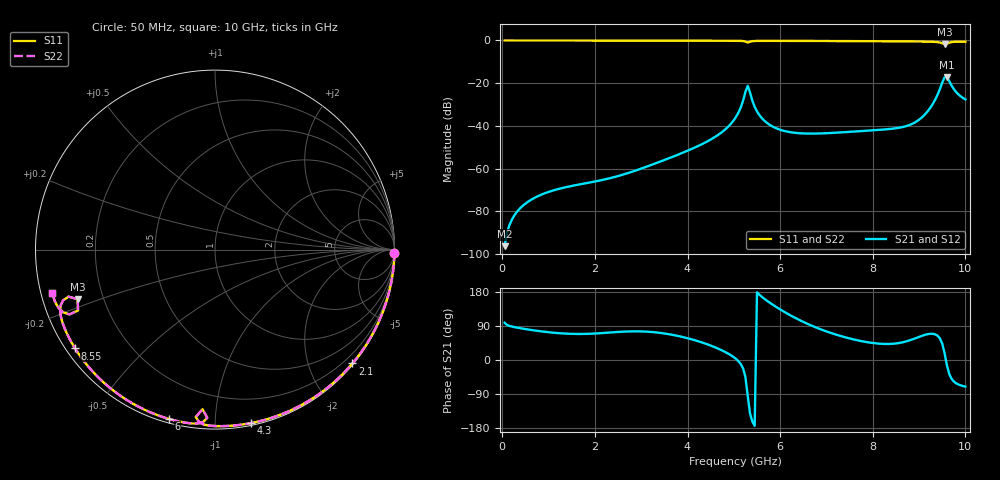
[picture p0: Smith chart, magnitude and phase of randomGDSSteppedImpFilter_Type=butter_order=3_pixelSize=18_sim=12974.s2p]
! freq	dB(S11)	phase(S11)	dB(S12)	phase(S12)
!  dB(S21)	phase(S21)	dB(S22)	phase(S22)
!S-par simulation data
#  GHz  S  DB  R 50
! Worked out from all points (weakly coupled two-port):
!   200 points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, 50 MHz to 10 GHz, reference 50 ohm
!   highest |S21| = -17.15 dB at 9.6 GHz (marker M1); lowest = -96.3 dB at 50 MHz (marker M2)
!   lowest |S11| = -1.8 dB at 9.55 GHz (marker M3), VSWR 9.74, Z = 5.29 - j8.66 ohm
!   |S11| at or under -10 dB: nowhere
!   |S22| runs from -1.8 to 0.0 dB; largest |S21 - S12| = 0
!   S11 on the Smith chart (normalised r, x): 50 MHz: open; 2.1 GHz: 0.03, -2.78; 4.3 GHz: 0.02, -1.23; 6 GHz: 0.02, -0.77; 8.55 GHz: 0.03, -0.32; 10 GHz: 0.03, -0.13
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0.05  -0.00 -1.0  -96.33 98.3  -96.33 98.3  -0.00 -1.0
0.3  -0.00 -5.8  -80.71 85.8  -80.71 85.8  -0.00 -5.8
0.85  -0.02 -16.3  -72.14 75.4  -72.14 75.4  -0.02 -16.3
1.75  -0.04 -33.2  -67.08 68.7  -67.08 68.7  -0.04 -33.2
2.1  -0.05 -39.6  -65.61 70.6  -65.61 70.6  -0.05 -39.6
3.4  -0.08 -62.9  -56.82 71.7  -56.82 71.7  -0.08 -62.9
4.3  -0.11 -78.4  -48.70 46.8  -48.70 46.8  -0.11 -78.4
4.75  -0.13 -86.0  -42.82 25.0  -42.82 25.0  -0.13 -86.0
5.05  -0.16 -91.5  -35.68 2.6  -35.68 2.6  -0.16 -91.5
5.3  -0.99 -94.5  -21.23 -95.0  -21.23 -95.0  -0.99 -94.5
5.45  -0.25 -95.3  -31.07 -173.7  -31.07 -173.7  -0.25 -95.3
5.55  -0.20 -97.4  -34.91 172.4  -34.91 172.4  -0.20 -97.4
6  -0.19 -105.2  -41.82 133.5  -41.82 133.5  -0.19 -105.1
6.7  -0.23 -116.2  -43.62 89.6  -43.62 89.6  -0.23 -116.2
8.35  -0.38 -141.6  -41.50 42.3  -41.50 42.3  -0.38 -141.6
8.55  -0.40 -144.8  -40.95 44.4  -40.95 44.4  -0.40 -144.7
9.15  -0.53 -154.8  -34.08 67.2  -34.08 67.2  -0.53 -154.8
9.35  -0.69 -159.0  -27.63 67.6  -27.63 67.6  -0.69 -159.0
9.55  -1.79 -160.1  -17.31 18.3  -17.31 18.3  -1.79 -160.1
9.6  -1.57 -156.0  -17.15 -13.5  -17.15 -13.5  -1.56 -156.0
9.8  -0.59 -160.6  -24.16 -61.4  -24.16 -61.4  -0.59 -160.6
10  -0.55 -165.1  -27.60 -70.3  -27.60 -70.3  -0.55 -165.1
